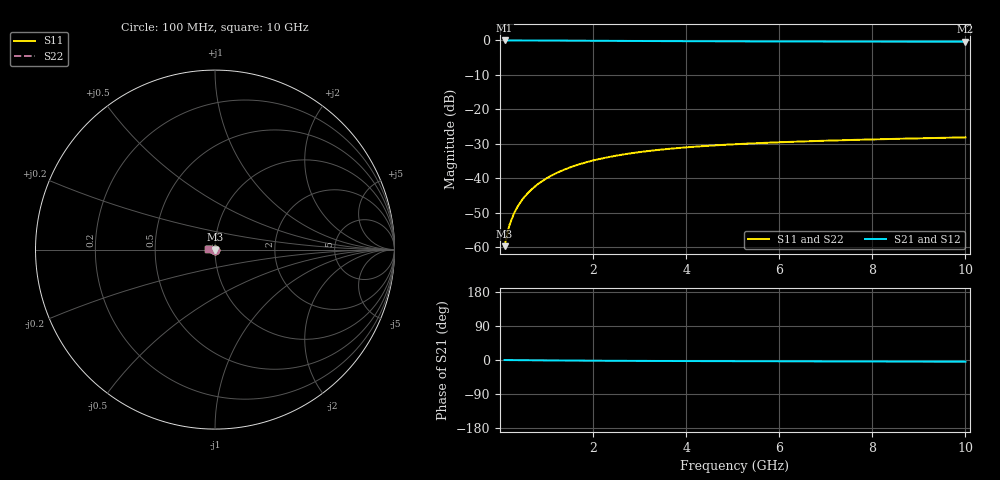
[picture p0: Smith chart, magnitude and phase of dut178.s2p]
! Touchstone file exported from HFSS 2024.1.0
!  File:  C:/UserFiles/LocalFiles/RDL_TSV_Batchsim/temp_TSV1_178_1779383933.aedt
!  Generated:  01:23:36 AM May 22, 2026
!  Design:  TSV1
!  Project:  temp_TSV1_178_1779383933
!  Setup:  Setup1
!  Solution:  Sweep
! Variables:
!  dtsv = 9.76um
!  hbump = 3um
!  htsv = 69um
!  lrdl = 252.1521522um
!  p = 40
!  p1 = 50.35um
!  t = 500um
!  trdl = 3um
!  wrdl = 24.89489489um
# GHz S MA R 50.000000
! Terminal data exported
! Port[1] = TSV22_T1
! Port[2] = TSV22_T2
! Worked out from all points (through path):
!   100 points, 100 MHz to 10 GHz, reference 50 ohm
!   highest |S21| = 0.00 dB at 100 MHz (marker M1); lowest = -0.4 dB at 10 GHz (marker M2)
!   lowest |S11| = -59.8 dB at 100 MHz (marker M3), VSWR 1.00, Z = 50 - j0.102 ohm
!   |S11| at or under -10 dB: start of sweep to end of sweep
!   |S22| runs from -59.8 to -28.2 dB; largest |S21 - S12| = 2.2e-15
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0.1  0.001028 -84.1  0.9998 -0.1  0.9998 -0.1  0.001028 -84.1
! Gamma 0 0 0 0
! Port Impedance 50 0 50 0
0.2  0.002044 -89.6  0.9997 -0.2  0.9997 -0.2  0.002044 -89.6
0.3  0.003063 -92.7  0.9995 -0.3  0.9995 -0.3  0.003063 -92.7
0.4  0.004079 -95.2  0.9993 -0.4  0.9993 -0.4  0.004079 -95.2
0.5  0.005086 -97.5  0.999 -0.5  0.999 -0.5  0.005086 -97.5
0.6  0.006083 -99.6  0.9986 -0.6  0.9986 -0.6  0.006083 -99.6
0.7  0.007066 -101.6  0.9982 -0.7  0.9982 -0.7  0.007066 -101.6
0.8  0.008034 -103.6  0.9977 -0.8  0.9977 -0.8  0.008034 -103.6
0.9  0.008985 -105.5  0.9972 -0.9  0.9972 -0.9  0.008985 -105.5
1.1  0.01083 -109.1  0.996 -1.1  0.996 -1.1  0.01083 -109.2
1.4  0.01344 -114.4  0.994 -1.4  0.994 -1.4  0.01344 -114.4
1.6  0.01506 -117.7  0.9926 -1.5  0.9926 -1.5  0.01506 -117.7
1.8  0.01659 -120.9  0.9911 -1.7  0.9911 -1.7  0.01659 -120.9
2.1  0.01871 -125.5  0.9887 -1.9  0.9887 -1.9  0.01871 -125.5
2.5  0.02122 -131.1  0.9856 -2.1  0.9856 -2.1  0.02122 -131.1
2.9  0.02339 -136.2  0.9827 -2.3  0.9827 -2.3  0.02339 -136.2
3.4  0.0257 -142.0  0.9793 -2.5  0.9793 -2.5  0.0257 -142.0
4.2  0.02865 -150.1  0.9746 -2.8  0.9746 -2.8  0.02865 -150.1
5.1  0.03119 -157.8  0.9704 -3.1  0.9704 -3.1  0.03119 -157.8
6.7  0.03447 -168.9  0.9651 -3.6  0.9651 -3.6  0.03447 -168.9
8.4  0.03706 -178.4  0.9615 -4.1  0.9615 -4.1  0.03706 -178.4
10  0.03911 174.2  0.9591 -4.5  0.9591 -4.5  0.03911 174.2
